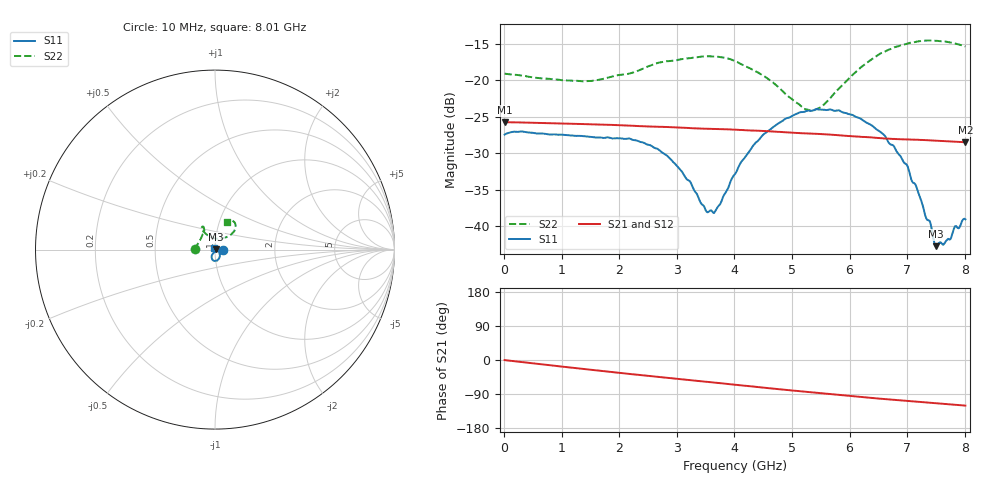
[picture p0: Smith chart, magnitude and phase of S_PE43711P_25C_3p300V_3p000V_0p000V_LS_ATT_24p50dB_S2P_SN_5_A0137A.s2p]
! Device ID: PE43711P
! File Path: z:\PE43711P\CHAR_NOM_04282014\AMB\3p300\LS_ATT_24p50dB\PE43711P_AMB_3p300V_3p000V_0p000V_LS_ATT_24p50dB_S2P_SN_5_A0137A.s2p
! Serial: 5
! Lot: A0137A
! Temp: 25C
! VDD: 3.300
! VSS: 0.000
! Control_Hi: 3.000
! Control_Lo: 0.000
! Attenuation Step: 24.50dB
! Port 1: RF1
! Port 2: RF2
! ThroughPath:1-2
! IDD: 0.000127189
! ISS: -1.146e-007
#  Hz  S  RI  R  50
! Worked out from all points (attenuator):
!   801 points, 10 MHz to 8.01 GHz, reference 50 ohm
!   highest |S21| = -25.74 dB at 10 MHz (marker M1); lowest = -28.5 dB at 8.01 GHz (marker M2)
!   lowest |S11| = -42.8 dB at 7.5 GHz (marker M3), VSWR 1.01, Z = 50.6 + j0.419 ohm
!   |S11| at or under -10 dB: start of sweep to end of sweep
!   |S22| runs from -24.2 to -14.5 dB; largest |S21 - S12| = 0.00012
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1e7  0.0425 0.000323  0.0516 -0.000215  0.0517 -0.000235  -0.1116 0.000917
1.35e9  0.0403 -0.00993  0.0462 -0.0197  0.0462 -0.0197  -0.0846 0.0507
2.18e9  0.0385 -0.0106  0.0392 -0.0293  0.0392 -0.0293  -0.064 0.0913
2.68e9  0.0326 -0.00806  0.0343 -0.0337  0.0343 -0.0337  -0.0613 0.1172
3.07e9  0.023 -0.00728  0.03 -0.0368  0.03 -0.0368  -0.063 0.1247
3.54e9  0.00632 -0.0107  0.0247 -0.0394  0.0247 -0.0394  -0.0697 0.1288
3.68e9  0.00108 -0.0129  0.0232 -0.0402  0.0232 -0.0402  -0.072 0.1268
4.01e9  -0.00989 -0.0205  0.0192 -0.0417  0.0192 -0.0417  -0.0737 0.114
4.32e9  -0.0173 -0.0309  0.0155 -0.0426  0.0155 -0.0426  -0.0638 0.0995
4.52e9  -0.0188 -0.0387  0.013 -0.043  0.013 -0.043  -0.0548 0.0916
4.89e9  -0.0168 -0.052  0.00859 -0.0432  0.00858 -0.0432  -0.0319 0.074
5.35e9  -0.0057 -0.0617  0.00343 -0.043  0.0035 -0.043  0.0087 0.061
5.54e9  0.00122 -0.063  0.0013 -0.0427  0.00132 -0.0427  0.0289 0.0608
6.05e9  0.0189 -0.0548  -0.00409 -0.0412  -0.00411 -0.0412  0.0783 0.0758
6.4e9  0.0259 -0.0411  -0.00738 -0.0399  -0.00739 -0.0399  0.1031 0.0968
6.68e9  0.0262 -0.0265  -0.0095 -0.0387  -0.0095 -0.0387  0.1127 0.1173
7e9  0.0228 -0.0126  -0.0119 -0.0375  -0.0119 -0.0375  0.1148 0.1373
7.4e9  0.0103 0.00233  -0.0151 -0.0357  -0.0151 -0.0357  0.1019 0.158
7.5e9  0.00599 0.00414  -0.0159 -0.0352  -0.0159 -0.0352  0.0965 0.1602
7.73e9  -0.00215 0.00781  -0.0173 -0.034  -0.0174 -0.0339  0.0828 0.1628
7.83e9  -0.00464 0.00882  -0.018 -0.0334  -0.018 -0.0334  0.0773 0.1618
8.01e9  -0.00784 0.0079  -0.019 -0.0325  -0.0191 -0.0325  0.0689 0.1564
